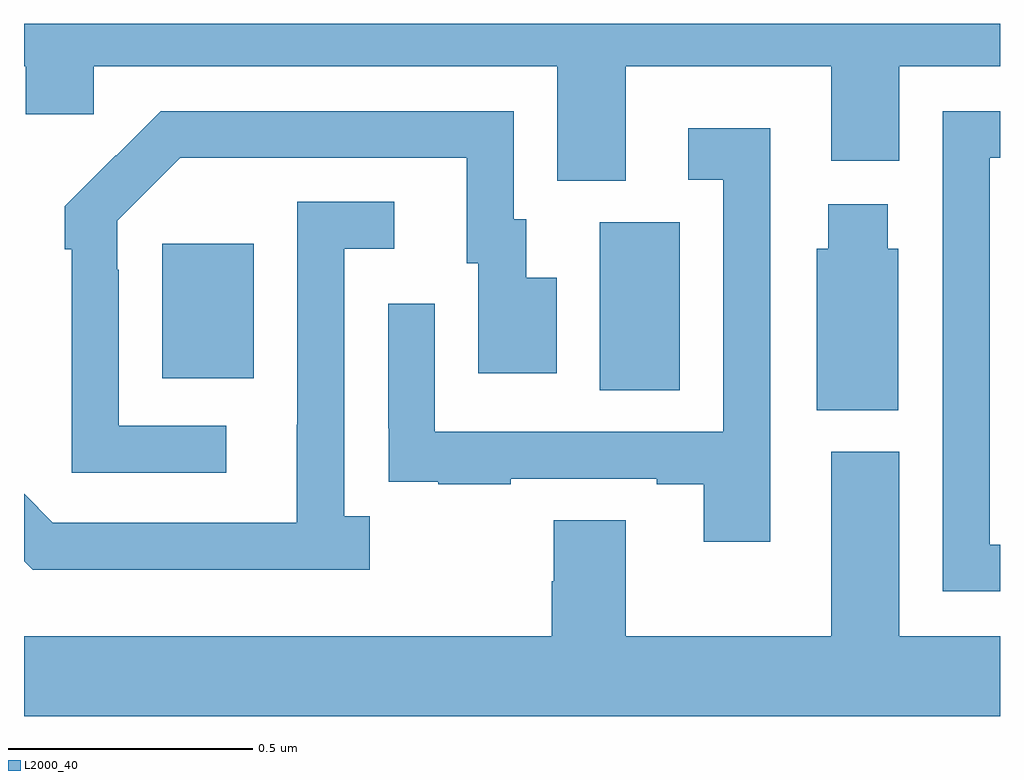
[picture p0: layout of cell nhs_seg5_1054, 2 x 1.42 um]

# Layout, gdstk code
import gdstk
lib = gdstk.Library(unit=1e-6, precision=1e-09)
def R(c, l, rs):  # rectangles x0, y0, x1, y1
    for r in rs: c.add(gdstk.rectangle(r[:2], r[2:], *l))
def P(c, l, *ps):  # polygons
    for p in ps: c.add(gdstk.Polygon(p, *l))
L2000_40 = (2000, 40)

nhs_seg5_1054 = lib.new_cell('nhs_seg5_1054')
R(nhs_seg5_1054, L2000_40, [(125.18,904.048,125.344,904.392), (124.283,904.073,124.471,904.348)])
P(nhs_seg5_1054, L2000_40, [(125.233,904.712),(125.654,904.712),(125.654,904.518),(125.794,904.518),(125.794,904.712),(126,904.712),(126,904.799),(124,904.799),(124,904.712),(124.004,904.712),(124.004,904.614),(124.143,904.614),(124.143,904.712),(125.093,904.712),(125.093,904.477),(125.233,904.477)],
  [(126,903.731),(125.979,903.731),(125.979,904.524),(126,904.524),(126,904.62),(125.883,904.62),(125.883,903.636),(126,903.636)],
  [(124.414,903.975),(124.194,903.975),(124.194,904.295),(124.191,904.295),(124.191,904.395),(124.32,904.524),(124.907,904.524),(124.907,904.308),(124.931,904.308),(124.931,904.083),(125.092,904.083),(125.092,904.279),(125.029,904.279),(125.029,904.398),(125.004,904.398),(125.004,904.62),(124.28,904.62),(124.189,904.529),(124.188,904.53),(124.083,904.425),(124.083,904.337),(124.098,904.337),(124.098,903.879),(124.414,903.879)],
  [(125.529,904.585),(125.361,904.585),(125.361,904.479),(125.433,904.479),(125.433,903.963),(124.842,903.963),(124.842,904.225),(124.746,904.225),(124.746,903.97),(124.747,903.97),(124.747,903.861),(124.849,903.861),(124.849,903.855),(124.997,903.855),(124.997,903.867),(125.297,903.867),(125.297,903.855),(125.393,903.855),(125.393,903.738),(125.529,903.738)],
  [(124.708,903.79),(124.656,903.79),(124.656,904.338),(124.759,904.338),(124.759,904.434),(124.56,904.434),(124.56,903.977),(124.559,903.977),(124.559,903.777),(124.059,903.777),(124,903.836),(124,903.698),(124.018,903.68),(124.708,903.68)],
  [(125.791,904.338),(125.77,904.338),(125.77,904.429),(125.648,904.429),(125.648,904.338),(125.624,904.338),(125.624,904.007),(125.791,904.007)],
  [(126,903.544),(125.794,903.544),(125.794,903.922),(125.654,903.922),(125.654,903.544),(125.233,903.544),(125.233,903.782),(125.086,903.782),(125.086,903.657),(125.081,903.657),(125.081,903.544),(124,903.544),(124,903.38),(126,903.38)])

lib.write_gds('nhs_seg5_1054.gds')
